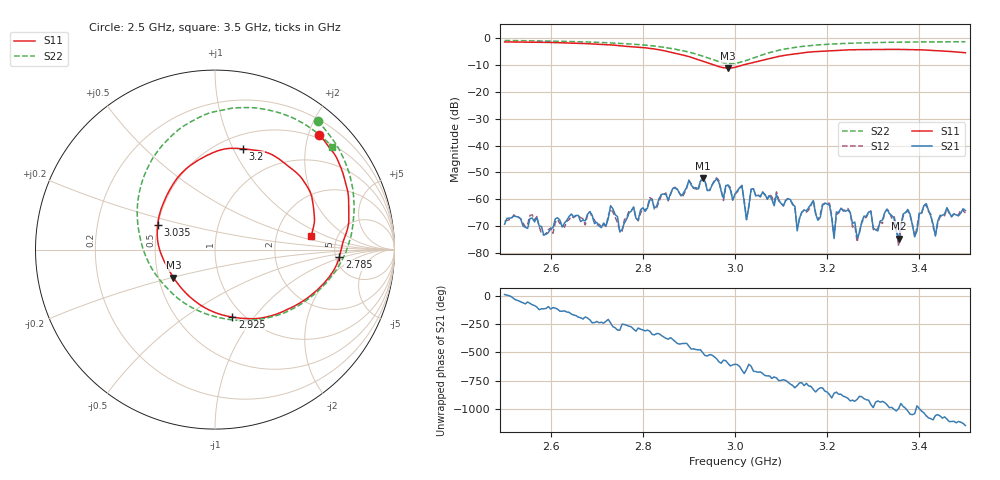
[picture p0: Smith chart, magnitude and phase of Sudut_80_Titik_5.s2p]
# Hz S RI R 50
! CMT, C1220, 16058040, 17.2.0/1
! Date: 15/08/2018 10:23:46
! Data: Format (Calibration Info)
! Freq  S11: Re/Im (F2)  S21: Re/Im (F2)  S12: Re/Im (F2)  S22: Re/Im (F2)
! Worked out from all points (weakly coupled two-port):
!   201 points, 2.5 GHz to 3.5 GHz, reference 50 ohm
!   highest |S21| = -52.05 dB at 2.93 GHz (marker M1); lowest = -74.7 dB at 3.355 GHz (marker M2)
!   lowest |S11| = -11.1 dB at 2.985 GHz (marker M3), VSWR 1.78, Z = 29.9 - j10.1 ohm
!   |S11| at or under -10 dB: 2.956 GHz to 3.015 GHz (59.79 MHz wide, 2 % of centre)
!   |S22| runs from -9.3 to -0.7 dB; largest |S21 - S12| = 0.00017
!   S11 on the Smith chart (normalised r, x): 2.5 GHz: 0.44, +2.19; 2.785 GHz: 5.38, -0.88; 2.925 GHz: 0.89, -0.78; 3.035 GHz: 0.50, +0.15; 3.2 GHz: 0.64, +1.09; 3.5 GHz: 3.20, +0.68
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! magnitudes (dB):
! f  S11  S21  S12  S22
! 2.5 GHz  -1.3  -69.3  -68.3  -0.7
! 2.67 GHz  -1.9  -67.8  -67.3  -1.3
! 2.785 GHz  -3.2  -67.1  -67.1  -2.2
! 2.835 GHz  -4.2  -59.9  -60.9  -3.0
! 2.925 GHz  -8.2  -53.3  -53.5  -6.3
! 2.93 GHz  -8.5  -52.1  -52.1  -6.6
! 2.985 GHz  -11.1  -54.8  -54.7  -9.3
! 3 GHz  -10.8  -58.1  -58.2  -9.3
! 3.025 GHz  -9.6  -67.6  -67.7  -8.2
! 3.035 GHz  -9.2  -56.3  -56.4  -7.6
! 3.135 GHz  -5.6  -71.8  -70.5  -3.2
! 3.17 GHz  -5.0  -60.6  -60.4  -2.5
! 3.2 GHz  -4.7  -61.8  -61.5  -2.2
! 3.215 GHz  -4.5  -74.7  -73.9  -2.0
! 3.265 GHz  -4.2  -74.4  -76.0  -1.7
! 3.335 GHz  -4.1  -65.4  -64.7  -1.4
! 3.355 GHz  -4.1  -74.7  -77.6  -1.4
! 3.375 GHz  -4.1  -63.8  -64.4  -1.3
! 3.39 GHz  -4.2  -74.0  -73.9  -1.3
! 3.415 GHz  -4.3  -61.7  -62.2  -1.3
! 3.435 GHz  -4.6  -73.8  -73.3  -1.3
! 3.5 GHz  -5.3  -64.2  -65.2  -1.2
